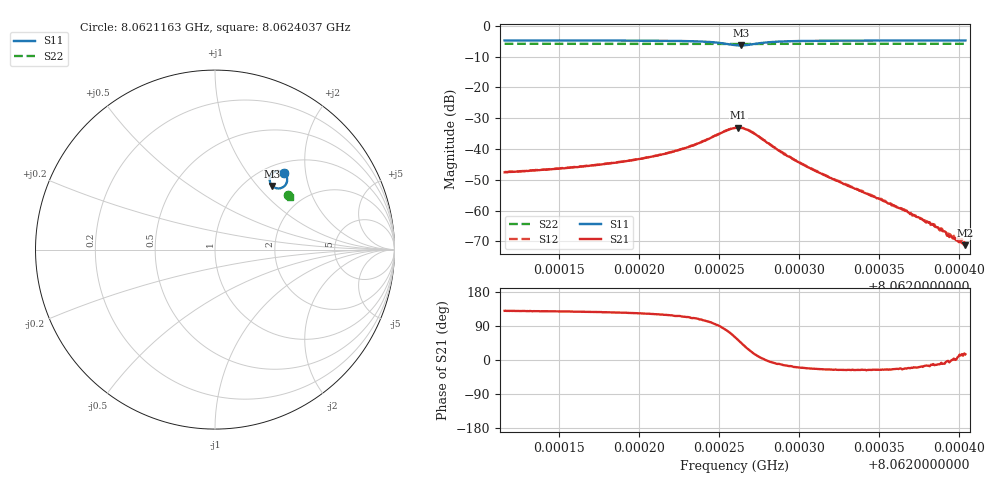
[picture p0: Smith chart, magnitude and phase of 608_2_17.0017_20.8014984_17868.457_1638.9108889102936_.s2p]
#  HZ  S  RI  R  50.00
! Rohde & Schwarz Vector Network Analyzer
! Rohde-Schwarz,ZNB20-2Port,1311601062101988,3.16
! Created: UTC 3/20/2024, 11:19:19 PM
! freq[Hz]  re:S11  im:S11  re:S21  im:S21  re:S12  im:S12  re:S22  im:S22
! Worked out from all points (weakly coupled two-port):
!   401 points, 8.0621163 GHz to 8.0624037 GHz, reference 50 ohm
!   highest |S21| = -33.12 dB at 8.0622621 GHz (marker M1); lowest = -71.3 dB at 8.0624037 GHz (marker M2)
!   lowest |S11| = -6.4 dB at 8.0622636 GHz (marker M3), VSWR 2.82, Z = 65.6 + j60.2 ohm
!   |S11| at or under -10 dB: nowhere
!   |S22| runs from -6.0 to -5.9 dB; largest |S21 - S12| = 0.0014
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8.06211625e9  0.3853 0.4281  -0.00267 0.00321  -0.00252 0.0034  0.4069 0.305
8.0621644e9  0.3908 0.4219  -0.00313 0.00412  -0.00294 0.00434  0.4088 0.3024
8.06219314e9  0.395 0.4157  -0.00361 0.00529  -0.00331 0.00552  0.4097 0.3006
8.06221255e9  0.3989 0.4079  -0.00401 0.00682  -0.00363 0.00714  0.4105 0.2994
8.06223338e9  0.4023 0.3901  -0.00395 0.0105  -0.00349 0.0109  0.4111 0.2975
8.06224919e9  0.3906 0.358  -0.000527 0.017  0.000474 0.0173  0.4106 0.2955
8.06225997e9  0.341 0.3423  0.0109 0.019  0.0119 0.0185  0.4086 0.295
8.06226213e9  0.3275 0.3481  0.0137 0.0174  0.0147 0.0168  0.4082 0.2953
8.06226357e9  0.3196 0.3542  0.0152 0.0158  0.0162 0.0151  0.4079 0.2957
8.06227003e9  0.3046 0.3919  0.0176 0.00718  0.0182 0.00624  0.408 0.2972
8.06228009e9  0.3233 0.4282  0.0125 -0.00043  0.0128 -0.00101  0.4097 0.2981
8.06229159e9  0.345 0.438  0.00779 -0.00198  0.00773 -0.00257  0.4111 0.2979
8.06230812e9  0.3617 0.4378  0.0043 -0.00181  0.00426 -0.00211  0.4125 0.2967
8.06235627e9  0.379 0.4317  0.00117 -0.000544  0.00115 -0.000649  0.4146 0.2937
8.06236704e9  0.381 0.4306  0.000918 -0.000384  0.0009 -0.000413  0.4152 0.2931
8.06238501e9  0.3837 0.4287  0.000536 -0.000123  0.000522 -0.00014  0.4157 0.2921
8.06238645e9  0.384 0.4286  0.000526 -0.000106  0.000533 -0.000113  0.4158 0.292
8.06239004e9  0.3842 0.4282  0.000453 -7.72e-05  0.000442 -9.48e-05  0.416 0.2919
8.06239363e9  0.3848 0.4279  0.000369 -4e-05  0.000404 -9.81e-05  0.4161 0.2916
8.06239651e9  0.3852 0.4276  0.000349 2.31e-05  0.00039 -2e-06  0.4162 0.2915
8.0624001e9  0.3856 0.4274  0.000295 7.47e-05  0.000343 9.02e-06  0.4162 0.2913
8.06240369e9  0.3861 0.4271  0.000262 7.07e-05  0.000253 7.48e-05  0.4164 0.2912
